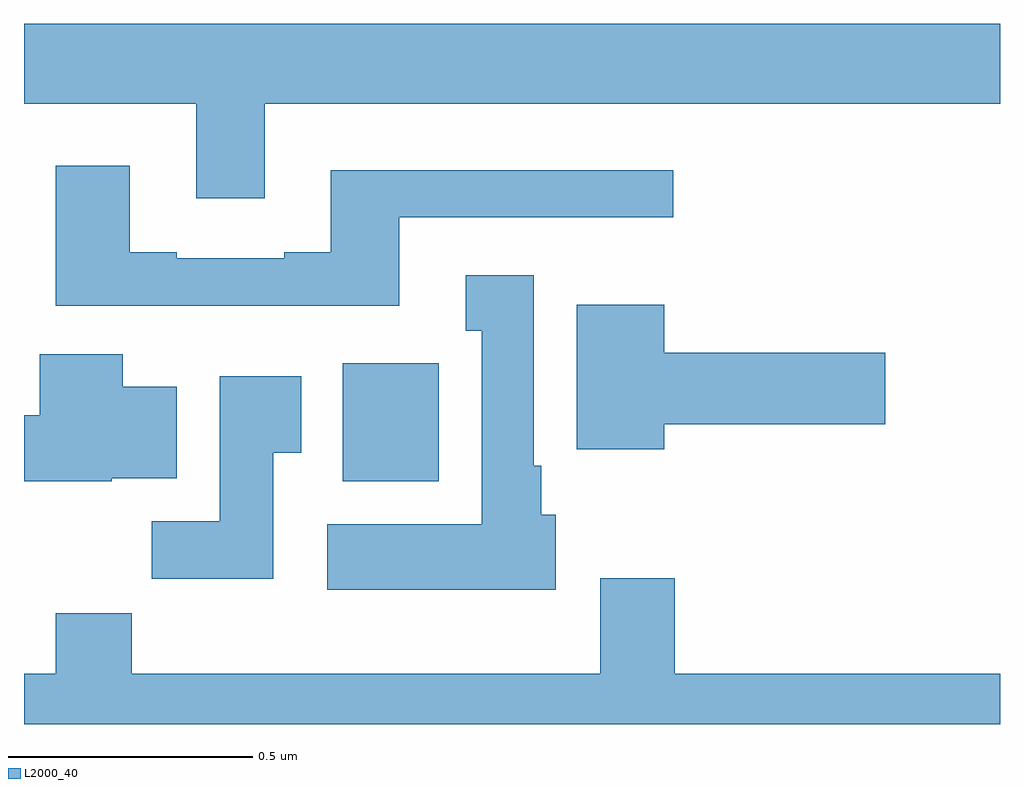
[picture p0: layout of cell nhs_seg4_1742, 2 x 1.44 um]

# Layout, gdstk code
import gdstk
lib = gdstk.Library(unit=1e-6, precision=1e-09)
def R(c, l, rs):  # rectangles x0, y0, x1, y1
    for r in rs: c.add(gdstk.rectangle(r[:2], r[2:], *l))
def P(c, l, *ps):  # polygons
    for p in ps: c.add(gdstk.Polygon(p, *l))
L2000_40 = (2000, 40)

nhs_seg4_1742 = lib.new_cell('nhs_seg4_1742')
R(nhs_seg4_1742, L2000_40, [(132.653,777.398,132.85,777.64)])
P(nhs_seg4_1742, L2000_40, [(132.493,778.172),(134,778.172),(134,778.336),(132,778.336),(132,778.172),(132.353,778.172),(132.353,777.978),(132.493,777.978)],
  [(132.769,777.939),(133.33,777.939),(133.33,778.036),(132.629,778.036),(132.629,777.868),(132.533,777.868),(132.533,777.855),(132.313,777.855),(132.313,777.868),(132.217,777.868),(132.217,778.045),(132.065,778.045),(132.065,777.758),(132.769,777.758)],
  [(133.09,777.33),(133.06,777.33),(133.06,777.43),(133.045,777.43),(133.045,777.82),(132.905,777.82),(132.905,777.707),(132.938,777.707),(132.938,777.31),(132.621,777.31),(132.621,777.176),(133.09,777.176)],
  [(133.312,777.515),(133.765,777.515),(133.765,777.662),(133.312,777.662),(133.312,777.76),(133.133,777.76),(133.133,777.464),(133.312,777.464)],
  [(132.18,777.404),(132.313,777.404),(132.313,777.592),(132.202,777.592),(132.202,777.658),(132.032,777.658),(132.032,777.533),(132,777.533),(132,777.398),(132.18,777.398)],
  [(132.511,777.457),(132.568,777.457),(132.568,777.613),(132.401,777.613),(132.401,777.316),(132.262,777.316),(132.262,777.198),(132.511,777.198)],
  [(134,777.004),(133.334,777.004),(133.334,777.199),(133.181,777.199),(133.181,777.004),(132.221,777.004),(132.221,777.128),(132.065,777.128),(132.065,777.004),(132,777.004),(132,776.9),(134,776.9)])

lib.write_gds('nhs_seg4_1742.gds')
